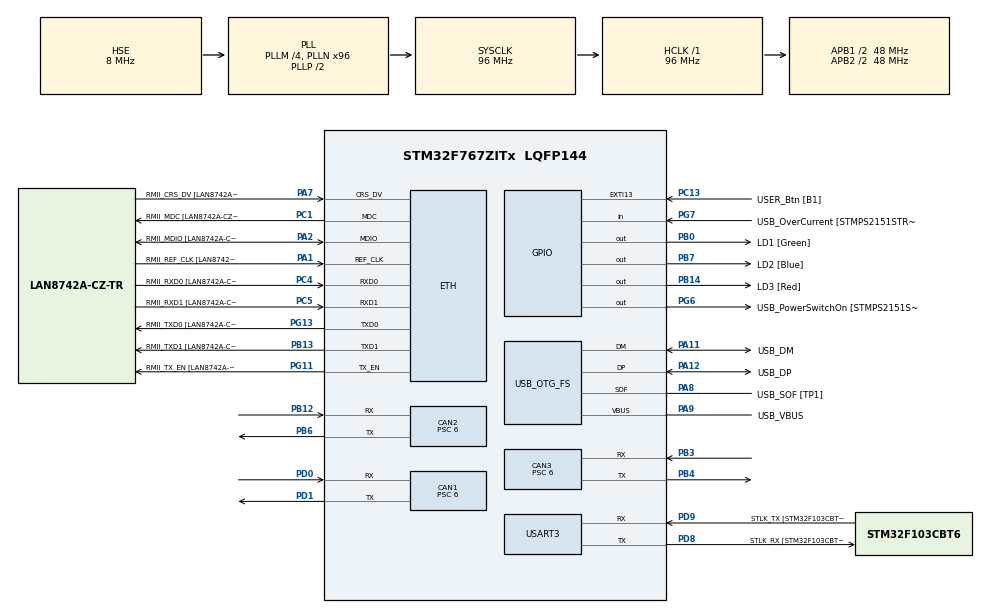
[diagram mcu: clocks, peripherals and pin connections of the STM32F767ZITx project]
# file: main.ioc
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CAN1.ABOM=DISABLE
CAN1.BS1=CAN_BS1_6TQ
CAN1.CalculateBaudRate=1000000
CAN1.CalculateTimeBit=1000
CAN1.CalculateTimeQuantum=125.0
CAN1.Prescaler=6
CAN1.TXFP=ENABLE
CAN2.BS1=CAN_BS1_6TQ
CAN2.CalculateBaudRate=1000000
CAN2.CalculateTimeBit=1000
CAN2.CalculateTimeQuantum=125.0
CAN2.Prescaler=6
CAN2.TXFP=ENABLE
CAN3.BS1=CAN_BS1_6TQ
CAN3.CalculateBaudRate=1000000
CAN3.CalculateTimeBit=1000
CAN3.CalculateTimeQuantum=125.0
CAN3.Prescaler=6
CAN3.TXFP=ENABLE
CORTEX_M7.default_mode_Activation=1
ETH.MediaInterface=HAL_ETH_RMII_MODE
ETH.PHY_Name=LAN8742A_PHY_ADDRESS
ETH.PHY_Value=0
ETH.PhyAddress=0
FREERTOS.Tasks01=defaultTask,0,8192,StartDefaultTask,Default,NULL,Static,defaultTaskBuffer,defaultTaskControlBlock;canlib_task,1,1024,StartCanlibTask,Default,NULL,Static,canlib_taskBuffer,canlib_taskControlBlock
FREERTOS.configENABLE_FPU=1
FREERTOS.configTIMER_TASK_STACK_DEPTH=65536
FREERTOS.configTOTAL_HEAP_SIZE=40000
FREERTOS.configUSE_TIMERS=1
LWIP.BSP.number=1
LWIP.IP_ADDRESS=192.168.001.010
LWIP.LWIP_DHCP=0
LWIP.LWIP_SO_RCVTIMEO=1
LWIP.MEMP_NUM_UDP_PCB=15
LWIP.NETMASK_ADDRESS=255.255.255.000
LWIP.Version=v2.1.2_Cube
LWIP0.BSP.STBoard=false
LWIP0.BSP.api=BSP_COMPONENT_DRIVER
LWIP0.BSP.component=LAN8742
LWIP0.BSP.instance=LAN8742
LWIP0.BSP.name=Driver_PHY
LWIP0.BSP.semaphore=S_LAN8742
LWIP0.BSP.solution=LAN8742
Mcu.Family=STM32F7
Mcu.Name=STM32F767ZITx
Mcu.Package=LQFP144
NVIC.CAN1_RX0_IRQn=true\:5\:0\:false\:false\:true\:true\:true\:true\:true
NVIC.CAN1_RX1_IRQn=true\:5\:0\:false\:false\:true\:true\:true\:true\:true
NVIC.CAN1_TX_IRQn=true\:5\:0\:false\:false\:true\:true\:true\:true\:true
NVIC.CAN2_RX0_IRQn=true\:5\:0\:false\:false\:true\:true\:true\:true\:true
NVIC.CAN2_RX1_IRQn=true\:5\:0\:false\:false\:true\:true\:true\:true\:true
NVIC.CAN2_TX_IRQn=true\:5\:0\:false\:false\:true\:true\:true\:true\:true
NVIC.CAN3_RX0_IRQn=true\:5\:0\:false\:false\:true\:true\:true\:true\:true
NVIC.CAN3_RX1_IRQn=true\:5\:0\:false\:false\:true\:true\:true\:true\:true
NVIC.CAN3_TX_IRQn=true\:5\:0\:false\:false\:true\:true\:true\:true\:true
NVIC.ETH_IRQn=true\:5\:0\:false\:false\:true\:true\:false\:true\:true
NVIC.PriorityGroup=NVIC_PRIORITYGROUP_4
NVIC.TIM1_UP_TIM10_IRQn=true\:15\:0\:false\:false\:true\:false\:false\:true\:true
NVIC.TimeBase=TIM1_UP_TIM10_IRQn
NVIC.TimeBaseIP=TIM1
PA1.GPIO_Label=RMII_REF_CLK [LAN8742A-CZ-TR_REFCLK0]
PA1.Mode=RMII
PA1.Signal=ETH_REF_CLK
PA10.GPIO_Label=USB_ID
PA10.Signal=USB_OTG_FS_ID
PA11.GPIO_Label=USB_DM
PA11.Mode=Device_Only
PA11.Signal=USB_OTG_FS_DM
PA12.GPIO_Label=USB_DP
PA12.Mode=Device_Only
PA12.Signal=USB_OTG_FS_DP
PA13.GPIO_Label=TMS
PA13.Mode=Serial_Wire
PA13.Signal=SYS_JTMS-SWDIO
PA14.GPIO_Label=TCK
PA14.Mode=Serial_Wire
PA14.Signal=SYS_JTCK-SWCLK
PA2.GPIO_Label=RMII_MDIO [LAN8742A-CZ-TR_MDIO]
PA2.Mode=RMII
PA2.Signal=ETH_MDIO
PA7.GPIO_Label=RMII_CRS_DV [LAN8742A-CZ-TR_CRS_DV]
PA7.Mode=RMII
PA7.Signal=ETH_CRS_DV
PA8.GPIO_Label=USB_SOF [TP1]
PA8.Mode=Activate_SOF_FS
PA8.Signal=USB_OTG_FS_SOF
PA9.GPIO_Label=USB_VBUS
PA9.Mode=Activate_VBUS
PA9.Signal=USB_OTG_FS_VBUS
PB0.GPIO_Label=LD1 [Green]
PB0.Signal=GPIO_Output
PB12.Mode=CAN_Activate
PB12.Signal=CAN2_RX
PB13.GPIO_Label=RMII_TXD1 [LAN8742A-CZ-TR_TXD1]
PB13.Mode=RMII
PB13.Signal=ETH_TXD1
PB14.GPIO_Label=LD3 [Red]
PB14.Signal=GPIO_Output
PB3.Mode=CAN_Activate
PB3.Signal=CAN3_RX
PB4.Mode=CAN_Activate
PB4.Signal=CAN3_TX
PB6.Mode=CAN_Activate
PB6.Signal=CAN2_TX
PB7.GPIO_Label=LD2 [Blue]
PB7.Signal=GPIO_Output
PC1.GPIO_Label=RMII_MDC [LAN8742A-CZ-TR_MDC]
PC1.Mode=RMII
PC1.Signal=ETH_MDC
PC13.GPIO_Label=USER_Btn [B1]
PC13.Signal=GPXTI13
PC14/OSC32_IN.Mode=LSE-External-Oscillator
PC14/OSC32_IN.Signal=RCC_OSC32_IN
PC15/OSC32_OUT.Mode=LSE-External-Oscillator
PC15/OSC32_OUT.Signal=RCC_OSC32_OUT
PC4.GPIO_Label=RMII_RXD0 [LAN8742A-CZ-TR_RXD0]
PC4.Mode=RMII
PC4.Signal=ETH_RXD0
PC5.GPIO_Label=RMII_RXD1 [LAN8742A-CZ-TR_RXD1]
PC5.Mode=RMII
PC5.Signal=ETH_RXD1
PD0.Mode=CAN_Activate
PD0.Signal=CAN1_RX
PD1.Mode=CAN_Activate
PD1.Signal=CAN1_TX
PD8.GPIO_Label=STLK_RX [STM32F103CBT6_PA3]
PD8.Mode=Asynchronous
PD8.Signal=USART3_TX
PD9.GPIO_Label=STLK_TX [STM32F103CBT6_PA2]
PD9.Mode=Asynchronous
PD9.Signal=USART3_RX
PG11.GPIO_Label=RMII_TX_EN [LAN8742A-CZ-TR_TXEN]
PG11.Mode=RMII
PG11.Signal=ETH_TX_EN
PG13.GPIO_Label=RMII_TXD0 [LAN8742A-CZ-TR_TXD0]
PG13.Mode=RMII
PG13.Signal=ETH_TXD0
PG6.GPIO_Label=USB_PowerSwitchOn [STMPS2151STR_EN]
PG6.Signal=GPIO_Output
PG7.GPIO_Label=USB_OverCurrent [STMPS2151STR_FAULT]
PG7.Signal=GPIO_Input
PH0/OSC_IN.GPIO_Label=MCO [STM32F103CBT6_PA8]
PH0/OSC_IN.Mode=HSE-External-Clock-Source
PH0/OSC_IN.Signal=RCC_OSC_IN
PH1/OSC_OUT.Mode=HSE-External-Clock-Source
PH1/OSC_OUT.Signal=RCC_OSC_OUT
ProjectManager.HeapSize=0x200
ProjectManager.StackSize=0x400
ProjectManager.TargetToolchain=STM32CubeIDE
RCC.48MHZClocksFreq_Value=24000000
RCC.AHBFreq_Value=96000000
RCC.APB1CLKDivider=RCC_HCLK_DIV2
RCC.APB1Freq_Value=48000000
RCC.APB1TimFreq_Value=96000000
RCC.APB2CLKDivider=RCC_HCLK_DIV2
RCC.APB2Freq_Value=48000000
RCC.APB2TimFreq_Value=96000000
RCC.CortexFreq_Value=96000000
RCC.HCLKFreq_Value=96000000
RCC.HSE_VALUE=8000000
RCC.HSI_VALUE=16000000
RCC.PLLM=4
RCC.PLLMUL=RCC_PLL_MUL9
RCC.PLLN=96
RCC.PLLQ=4
RCC.PRESCALERUSB=RCC_USBCLKSOURCE_PLL_DIV1_5
RCC.SYSCLKFreq_VALUE=96000000
RCC.SYSCLKSource=RCC_SYSCLKSOURCE_PLLCLK
RCC.SYSCLKSourceVirtual=RCC_SYSCLKSOURCE_PLLCLK
RCC.USBFreq_Value=48000000
RCC.VCOOutputFreq_Value=192000000
USART3.VirtualMode-Asynchronous=VM_ASYNC
USB_OTG_FS.VirtualMode=Device_Only
VP_FREERTOS_VS_CMSIS_V1.Mode=CMSIS_V1
VP_LWIP_VS_Enabled.Mode=Enabled
VP_SYS_VS_tim1.Mode=TIM1
board=NUCLEO-F767ZI

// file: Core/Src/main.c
/* USER CODE BEGIN Header */
/**
  ******************************************************************************
  * @file           : main.c
  * @brief          : Main program body
  ******************************************************************************
  * @attention
  *
  * Copyright (c) 2026 STMicroelectronics.
  * All rights reserved.
  *
  * This software is licensed under terms that can be found in the LICENSE file
  * in the root directory of this software component.
  * If no LICENSE file comes with this software, it is provided AS-IS.
  *
  ******************************************************************************
  */
/* USER CODE END Header */
#include "main.h"
#include "cmsis_os.h"
#include "can.h"
#include "lwip.h"
#include "usart.h"
#include "usb_otg.h"
#include "gpio.h"

void SystemClock_Config(void);
static void MPU_Config(void);
void MX_FREERTOS_Init(void);

/* USER CODE BEGIN 0 */
#ifdef __GNUC__
#define PUTCHAR_PROTOTYPE int __io_putchar(uint8_t ch)
#else
#define PUTCHAR_PROTOTYPE int fputc(int ch, FILE *f)
#endif /* __GNUC__ */

PUTCHAR_PROTOTYPE {
  HAL_UART_Transmit(&huart3, &ch, 1, 500);
  return ch;
}
/* USER CODE END 0 */

int main(void)
{

  /* MPU Configuration--------------------------------------------------------*/
  MPU_Config();

  /* MCU Configuration--------------------------------------------------------*/

  /* Reset of all peripherals, Initializes the Flash interface and the Systick. */
  HAL_Init();

  /* Configure the system clock */
  SystemClock_Config();

  /* Initialize all configured peripherals */
  MX_GPIO_Init();
  MX_CAN1_Init();
  MX_USART3_UART_Init();
  MX_USB_OTG_FS_PCD_Init();
  MX_CAN2_Init();
  MX_CAN3_Init();

  /* Call init function for freertos objects (in cmsis_os2.c) */
  MX_FREERTOS_Init();

  /* Start scheduler */
  osKernelStart();

  /* We should never get here as control is now taken by the scheduler */

  /* Infinite loop */
  while (1)
  {

  }
}

void SystemClock_Config(void)
{
  RCC_OscInitTypeDef RCC_OscInitStruct = {0};
  RCC_ClkInitTypeDef RCC_ClkInitStruct = {0};

  /** Configure LSE Drive Capability
  */
  HAL_PWR_EnableBkUpAccess();

  /** Configure the main internal regulator output voltage
  */
  __HAL_RCC_PWR_CLK_ENABLE();
  __HAL_PWR_VOLTAGESCALING_CONFIG(PWR_REGULATOR_VOLTAGE_SCALE3);

  /** Initializes the RCC Oscillators according to the specified parameters
  * in the RCC_OscInitTypeDef structure.
  */
  RCC_OscInitStruct.OscillatorType = RCC_OSCILLATORTYPE_HSE;
  RCC_OscInitStruct.HSEState = RCC_HSE_BYPASS;
  RCC_OscInitStruct.PLL.PLLState = RCC_PLL_ON;
  RCC_OscInitStruct.PLL.PLLSource = RCC_PLLSOURCE_HSE;
  RCC_OscInitStruct.PLL.PLLM = 4;
  RCC_OscInitStruct.PLL.PLLN = 96;
  RCC_OscInitStruct.PLL.PLLP = RCC_PLLP_DIV2;
  RCC_OscInitStruct.PLL.PLLQ = 4;
  RCC_OscInitStruct.PLL.PLLR = 2;
  if (HAL_RCC_OscConfig(&RCC_OscInitStruct) != HAL_OK)
  {
    Error_Handler();
  }

  /** Activate the Over-Drive mode
  */
  if (HAL_PWREx_EnableOverDrive() != HAL_OK)
  {
    Error_Handler();
  }

  /** Initializes the CPU, AHB and APB buses clocks
  */
  RCC_ClkInitStruct.ClockType = RCC_CLOCKTYPE_HCLK|RCC_CLOCKTYPE_SYSCLK
                              |RCC_CLOCKTYPE_PCLK1|RCC_CLOCKTYPE_PCLK2;
  RCC_ClkInitStruct.SYSCLKSource = RCC_SYSCLKSOURCE_PLLCLK;
  RCC_ClkInitStruct.AHBCLKDivider = RCC_SYSCLK_DIV1;
  RCC_ClkInitStruct.APB1CLKDivider = RCC_HCLK_DIV2;
  RCC_ClkInitStruct.APB2CLKDivider = RCC_HCLK_DIV2;

  if (HAL_RCC_ClockConfig(&RCC_ClkInitStruct, FLASH_LATENCY_3) != HAL_OK)
  {
    Error_Handler();
  }
}

 /* MPU Configuration */

void MPU_Config(void)
{
  MPU_Region_InitTypeDef MPU_InitStruct = {0};

  /* Disables the MPU */
  HAL_MPU_Disable();

  /** Initializes and configures the Region and the memory to be protected
  */
  MPU_InitStruct.Enable = MPU_REGION_ENABLE;
  MPU_InitStruct.Number = MPU_REGION_NUMBER0;
  MPU_InitStruct.BaseAddress = 0x0;
  MPU_InitStruct.Size = MPU_REGION_SIZE_4GB;
  MPU_InitStruct.SubRegionDisable = 0x87;
  MPU_InitStruct.TypeExtField = MPU_TEX_LEVEL0;
  MPU_InitStruct.AccessPermission = MPU_REGION_NO_ACCESS;
  MPU_InitStruct.DisableExec = MPU_INSTRUCTION_ACCESS_DISABLE;
  MPU_InitStruct.IsShareable = MPU_ACCESS_SHAREABLE;
  MPU_InitStruct.IsCacheable = MPU_ACCESS_NOT_CACHEABLE;
  MPU_InitStruct.IsBufferable = MPU_ACCESS_NOT_BUFFERABLE;

  HAL_MPU_ConfigRegion(&MPU_InitStruct);
  /* Enables the MPU */
  HAL_MPU_Enable(MPU_PRIVILEGED_DEFAULT);

}

void HAL_TIM_PeriodElapsedCallback(TIM_HandleTypeDef *htim)
{
  if (htim->Instance == TIM1)
  {
    HAL_IncTick();
  }
}

void Error_Handler(void)
{
  __disable_irq();
  while (1)
  {
  }
}

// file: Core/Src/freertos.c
/* USER CODE BEGIN Header */
/**
  ******************************************************************************
  * File Name          : freertos.c
  * Description        : Code for freertos applications
  ******************************************************************************
  * @attention
  *
  * Copyright (c) 2026 STMicroelectronics.
  * All rights reserved.
  *
  * This software is licensed under terms that can be found in the LICENSE file
  * in the root directory of this software component.
  * If no LICENSE file comes with this software, it is provided AS-IS.
  *
  ******************************************************************************
  */
/* USER CODE END Header */

#include "FreeRTOS.h"
#include "task.h"
#include "main.h"
#include "cmsis_os.h"

/* USER CODE BEGIN Includes */
#include <math.h>
#include <rcl/rcl.h>
#include <rcl/error_handling.h>
#include <rclc/rclc.h>
#include <rclc/executor.h>
#include <uxr/client/transport.h>
#include <rmw_microxrcedds_c/config.h>
#include <rmw_microros/rmw_microros.h>

#include <std_msgs/msg/int32.h>
#include <std_msgs/msg/float32_multi_array.h>
#include "ModularCANLib.h"
/* USER CODE END Includes */

/* USER CODE BEGIN PTD */
typedef struct {
  float Kp_pos;
  float Kp_vel;
  float Ki_vel;
  float alpha; // 参照モデルの極
  float gw;    // DOBのLPFの極
  float J;     // 慣性モーメント
  float D;     // 粘性摩擦係数
  float Ki;    // トルク定数
} ControllerParams;
/* USER CODE END PTD */

/* USER CODE BEGIN PD */
enum {
  Motor_Shoulder=0,
  Motor_Elbow,
  Motor_3508_left,
  Motor_3508_right,
  Motor_2006_xy,
  Motor_2006_z,
};

#define CONTROL_PERIOD_MS 1
#define CONTROL_PERIOD_S  0.001f

/* USER CODE END PD */

/* USER CODE BEGIN Variables */
volatile float g_target_positions[6] = {0.0f, 0.0f, 0.0f, 0.0f, 0.0f, 0.0f};

// 各軸のDOBやフィルタの前回値を保持する構造体
typedef struct {
  float prev_v_ref_filtered;
  float prev_i_in;
  float integral_e;

  // DOB・フィルタ用の状態変数（追加）
  float dob_state;
  float i_in_filtered;
  float prev_i_in_filtered;
} ControllerState;

ControllerState ctrl_state[6] = {0};
/* USER CODE END Variables */
osThreadId defaultTaskHandle;
uint32_t defaultTaskBuffer[ 8192 ];
osStaticThreadDef_t defaultTaskControlBlock;
osThreadId canlib_taskHandle;
uint32_t canlib_taskBuffer[ 1024 ];
osStaticThreadDef_t canlib_taskControlBlock;

/* USER CODE BEGIN FunctionPrototypes */
bool cubemx_transport_open(struct uxrCustomTransport * transport);
bool cubemx_transport_close(struct uxrCustomTransport * transport);
size_t cubemx_transport_write(struct uxrCustomTransport* transport, const uint8_t * buf, size_t len, uint8_t * err);
size_t cubemx_transport_read(struct uxrCustomTransport* transport, uint8_t* buf, size_t len, int timeout, uint8_t* err);

void * microros_allocate(size_t size, void * state);
void microros_deallocate(void * pointer, void * state);
void * microros_reallocate(void * pointer, size_t size, void * state);
void * microros_zero_allocate(size_t number_of_elements, size_t size_of_element, void * state);

float calc_axis_control(float target_pos, float current_pos, float current_vel,ControllerState* state, const ControllerParams* params);

/* USER CODE END FunctionPrototypes */

void StartDefaultTask(void const * argument);
void StartCanlibTask(void const * argument);

extern void MX_LWIP_Init(void);
void MX_FREERTOS_Init(void); /* (MISRA C 2004 rule 8.1) */

/* GetIdleTaskMemory prototype (linked to static allocation support) */
void vApplicationGetIdleTaskMemory( StaticTask_t **ppxIdleTaskTCBBuffer, StackType_t **ppxIdleTaskStackBuffer, uint32_t *pulIdleTaskStackSize );

/* GetTimerTaskMemory prototype (linked to static allocation support) */
void vApplicationGetTimerTaskMemory( StaticTask_t **ppxTimerTaskTCBBuffer, StackType_t **ppxTimerTaskStackBuffer, uint32_t *pulTimerTaskStackSize );

/* USER CODE BEGIN GET_IDLE_TASK_MEMORY */
static StaticTask_t xIdleTaskTCBBuffer;
static StackType_t xIdleStack[configMINIMAL_STACK_SIZE];

void vApplicationGetIdleTaskMemory( StaticTask_t **ppxIdleTaskTCBBuffer, StackType_t **ppxIdleTaskStackBuffer, uint32_t *pulIdleTaskStackSize )
{
  *ppxIdleTaskTCBBuffer = &xIdleTaskTCBBuffer;
  *ppxIdleTaskStackBuffer = &xIdleStack[0];
  *pulIdleTaskStackSize = configMINIMAL_STACK_SIZE;
  /* place for user code */
}
/* USER CODE END GET_IDLE_TASK_MEMORY */

/* USER CODE BEGIN GET_TIMER_TASK_MEMORY */
static StaticTask_t xTimerTaskTCBBuffer;
static StackType_t xTimerStack[configTIMER_TASK_STACK_DEPTH];

void vApplicationGetTimerTaskMemory( StaticTask_t **ppxTimerTaskTCBBuffer, StackType_t **ppxTimerTaskStackBuffer, uint32_t *pulTimerTaskStackSize )
{
  *ppxTimerTaskTCBBuffer = &xTimerTaskTCBBuffer;
  *ppxTimerTaskStackBuffer = &xTimerStack[0];
  *pulTimerTaskStackSize = configTIMER_TASK_STACK_DEPTH;
  /* place for user code */
}
/* USER CODE END GET_TIMER_TASK_MEMORY */

void MX_FREERTOS_Init(void) {

  /* Create the thread(s) */
  /* definition and creation of defaultTask */
  osThreadStaticDef(defaultTask, StartDefaultTask, osPriorityNormal, 0, 8192, defaultTaskBuffer, &defaultTaskControlBlock);
  defaultTaskHandle = osThreadCreate(osThread(defaultTask), NULL);

  /* definition and creation of canlib_task */
  osThreadStaticDef(canlib_task, StartCanlibTask, osPriorityAboveNormal, 0, 1024, canlib_taskBuffer, &canlib_taskControlBlock);
  canlib_taskHandle = osThreadCreate(osThread(canlib_task), NULL);

}

void StartDefaultTask(void const * argument)
{
  /* init code for LWIP */
  MX_LWIP_Init();
  /* USER CODE BEGIN StartDefaultTask */

  // micro-ROS configuration
  rmw_uros_set_custom_transport(
    false,              //Framing disable here.
    "192.168.1.121",    //your Agent's ip address.
    cubemx_transport_open,
    cubemx_transport_close,
    cubemx_transport_write,
    cubemx_transport_read);

  rcl_allocator_t freeRTOS_allocator = rcutils_get_zero_initialized_allocator();
  freeRTOS_allocator.allocate = microros_allocate;
  freeRTOS_allocator.deallocate = microros_deallocate;
  freeRTOS_allocator.reallocate = microros_reallocate;
  freeRTOS_allocator.zero_allocate =  microros_zero_allocate;

  if (!rcutils_set_default_allocator(&freeRTOS_allocator)) {
    printf("Error on default allocators (line %d)\n", __LINE__);
  }

  rcl_allocator_t allocator = rcl_get_default_allocator();
  rclc_support_t support;
  rcl_node_t node;
  rcl_subscription_t subscriber;
  std_msgs__msg__Float32MultiArray msg; // 受信メッセージ

  // 初期化オプションの生成とDomain IDのセット
  rcl_init_options_t init_options = rcl_get_zero_initialized_init_options();
  rcl_init_options_init(&init_options, allocator);
  rcl_init_options_set_domain_id(&init_options, 30);

  // supportを初期化
  rclc_support_init_with_options(&support, 0, NULL, &init_options, &allocator);

  // ノードの作成
  rclc_node_init_default(&node, "stm32_scara_node", "", &support);

  // Subscriber作成 ("target_joint_positions"トピック)
  rclc_subscription_init_default(
    &subscriber, &node,
    ROSIDL_GET_MSG_TYPE_SUPPORT(std_msgs, msg, Float32MultiArray),
    "target_joint_positions");

  // エグゼキュータの作成
  rclc_executor_t executor;
  rclc_executor_init(&executor, &support.context, 1, &allocator);

  // コールバック関数の定義
  void subscription_callback(const void * msgin) {
    const std_msgs__msg__Float32MultiArray * array_msg = (const std_msgs__msg__Float32MultiArray *)msgin;
    // 6軸分のデータが来ているかチェック
    if (array_msg->data.size >= 6) {
      g_target_positions[Motor_Shoulder]   = array_msg->data.data[0];
      g_target_positions[Motor_Elbow]      = array_msg->data.data[1];
      g_target_positions[Motor_3508_left]  = array_msg->data.data[2];
      g_target_positions[Motor_3508_right] = array_msg->data.data[3];
      g_target_positions[Motor_2006_xy]    = array_msg->data.data[4];
      g_target_positions[Motor_2006_z]     = array_msg->data.data[5];
    }
  }

  // Subscriberをエグゼキュータに追加
  rclc_executor_add_subscription(&executor, &subscriber, &msg, &subscription_callback, ON_NEW_DATA);

  for(;;) {
    rclc_executor_spin_some(&executor, RCL_MS_TO_NS(10));
    osDelay(10);
  }
  /* USER CODE END StartDefaultTask */
}

void StartCanlibTask(void const * argument)
{
  /* USER CODE BEGIN StartCanlibTask */

  // 1. 各モータの登録と初期化設定\
  // --- Shoulder (RobStride 02) ---
  // ModularCANLib_DeviceInfo_Type *dev_shoulder = ModularCANLib_DeviceInfo_Struct_Init(ModularCANLib_DeviceType_RobStride_02, Motor_Shoulder);
  // dev_shoulder->hcan = &hcan1; dev_shoulder->node_id = 1;
  // ModularCANLib_DeviceParam_RobStride_Type *param_shoulder = ModularCANLib_RobStride_GetDeviceParam(dev_shoulder);
  // param_shoulder->use_internal_offset = ROBSTRIDE_USE_OFFSET_POS_INITIAL;
  // param_shoulder->target.kp = 0.0f; // トルク制御のみ
  // param_shoulder->target.kd = 0.0f;

  // --- Elbow (RobStride 05 Edu) ---
  ModularCANLib_DeviceInfo_Type *dev_elbow = ModularCANLib_DeviceInfo_Struct_Init(ModularCANLib_DeviceType_RobStride_05_Edu, Motor_Elbow);
  dev_elbow->hcan = &hcan2; dev_elbow->node_id = 1;
  ModularCANLib_DeviceParam_RobStride_Type *param_elbow = ModularCANLib_RobStride_GetDeviceParam(dev_elbow);
  param_elbow->use_internal_offset = ROBSTRIDE_USE_OFFSET_POS_INITIAL;
  param_elbow->target.kp = 0.0f; // トルク制御のみ
  param_elbow->target.kd = 0.0f;

  // // --- 3508 Left (C620) ---
  // ModularCANLib_DeviceInfo_Type *dev_3508_l = ModularCANLib_DeviceInfo_Struct_Init(ModularCANLib_DeviceType_RoboMas_C620, Motor_3508_left);
  // dev_3508_l->hcan = &hcan2; dev_3508_l->node_id = 1;
  // ModularCANLib_RoboMas_GetDeviceParam(dev_3508_l)->ctrl_type = ROBOMAS_CTRL_CURRENT;
  //
  // // --- 3508 Right (C620) ---
  // ModularCANLib_DeviceInfo_Type *dev_3508_r = ModularCANLib_DeviceInfo_Struct_Init(ModularCANLib_DeviceType_RoboMas_C620, Motor_3508_right);
  // dev_3508_r->hcan = &hcan2; dev_3508_r->node_id = 2;
  // ModularCANLib_RoboMas_GetDeviceParam(dev_3508_r)->ctrl_type = ROBOMAS_CTRL_CURRENT;
  //
  // // --- 2006 XY (C610) ---
  // ModularCANLib_DeviceInfo_Type *dev_2006_xy = ModularCANLib_DeviceInfo_Struct_Init(ModularCANLib_DeviceType_RoboMas_C610, Motor_2006_xy);
  // dev_2006_xy->hcan = &hcan2; dev_2006_xy->node_id = 3;
  // ModularCANLib_RoboMas_GetDeviceParam(dev_2006_xy)->ctrl_type = ROBOMAS_CTRL_CURRENT;
  //
  // // --- 2006 Z (C610) ---
  // ModularCANLib_DeviceInfo_Type *dev_2006_z = ModularCANLib_DeviceInfo_Struct_Init(ModularCANLib_DeviceType_RoboMas_C610, Motor_2006_z);
  // dev_2006_z->hcan = &hcan2; dev_2006_z->node_id = 4;
  // ModularCANLib_RoboMas_GetDeviceParam(dev_2006_z)->ctrl_type = ROBOMAS_CTRL_CURRENT;

  // 全デバイス & CAN初期化
  ModularCANLib_AllDevice_And_CANSystem_Init();
  ModularCANLib_WaitForConnect();

  // 起動処理
  // Robstride_PresetParameters(dev_shoulder);
  Robstride_PresetParameters(dev_elbow);
  // Robstride_ControlEnable(dev_shoulder);
  Robstride_ControlEnable(dev_elbow);
  // RoboMas_ControlEnable(dev_3508_l);
  // RoboMas_ControlEnable(dev_3508_r);
  // RoboMas_ControlEnable(dev_2006_xy);
  // RoboMas_ControlEnable(dev_2006_z);

  // 2. 各軸の制御パラメータの初期化（※実機に合わせて値を調整してください）
  // ControllerParams p_shoulder = { .Kp_pos = 10.0f, .Kp_vel = 0.5f, .Ki_vel = 0.1f, .alpha = 50.0f, .gw = 100.0f, .J = 0.01f, .D = 0.001f, .Ki = 1.0f };
  ControllerParams p_elbow    = { .Kp_pos = 10.0f, .Kp_vel = 0.5f, .Ki_vel = 0.1f, .alpha = 50.0f, .gw = 100.0f, .J = 0.005f, .D = 0.001f, .Ki = 1.0f };
  // ControllerParams p_3508_l   = { .Kp_pos = 10.0f, .Kp_vel = 0.5f, .Ki_vel = 0.1f, .alpha = 50.0f, .gw = 100.0f, .J = 0.002f, .D = 0.001f, .Ki = 0.3f };
  // ControllerParams p_3508_r   = { .Kp_pos = 10.0f, .Kp_vel = 0.5f, .Ki_vel = 0.1f, .alpha = 50.0f, .gw = 100.0f, .J = 0.002f, .D = 0.001f, .Ki = 0.3f };
  // ControllerParams p_2006_xy  = { .Kp_pos = 10.0f, .Kp_vel = 0.5f, .Ki_vel = 0.1f, .alpha = 50.0f, .gw = 100.0f, .J = 0.001f, .D = 0.001f, .Ki = 0.18f };
  // ControllerParams p_2006_z   = { .Kp_pos = 10.0f, .Kp_vel = 0.5f, .Ki_vel = 0.1f, .alpha = 50.0f, .gw = 100.0f, .J = 0.001f, .D = 0.001f, .Ki = 0.18f };

  // 1kHz制御ループの準備
  TickType_t xLastWakeTime = osKernelSysTick();

  for(;;)
  {
    // 厳密に1ms周期で実行する
    osDelayUntil(&xLastWakeTime, CONTROL_PERIOD_MS);

    // ========================================================
    // 制御計算と指令値のセット
    // ========================================================
    float req_i; // 計算された目標電流値

    // --- Shoulder ---
    // req_i = calc_axis_control(g_target_positions[Motor_Shoulder], param_shoulder->feedback.position, param_shoulder->feedback.velocity, &ctrl_state[Motor_Shoulder], &p_shoulder);
    // param_shoulder->target.torque_ff = req_i * p_shoulder.Ki; // 電流からトルクに変換して代入

    // --- Elbow ---
    req_i = calc_axis_control(g_target_positions[Motor_Elbow], param_elbow->feedback.position, param_elbow->feedback.velocity, &ctrl_state[Motor_Elbow], &p_elbow);
    param_elbow->target.torque_ff = req_i * p_elbow.Ki;

    // // --- 3508 Left ---
    // req_i = calc_axis_control(g_target_positions[Motor_3508_left], ModularCANLib_RoboMas_GetDeviceParam(dev_3508_l)->feedback.position, ModularCANLib_RoboMas_GetDeviceParam(dev_3508_l)->feedback.velocity, &ctrl_state[Motor_3508_left], &p_3508_l);
    // RoboMas_SetTarget(dev_3508_l, req_i); // RoboMasは電流指令をそのまま渡す
    //
    // // --- 3508 Right ---
    // req_i = calc_axis_control(g_target_positions[Motor_3508_right], ModularCANLib_RoboMas_GetDeviceParam(dev_3508_r)->feedback.position, ModularCANLib_RoboMas_GetDeviceParam(dev_3508_r)->feedback.velocity, &ctrl_state[Motor_3508_right], &p_3508_r);
    // RoboMas_SetTarget(dev_3508_r, req_i);
    //
    // // --- 2006 XY ---
    // req_i = calc_axis_control(g_target_positions[Motor_2006_xy], ModularCANLib_RoboMas_GetDeviceParam(dev_2006_xy)->feedback.position, ModularCANLib_RoboMas_GetDeviceParam(dev_2006_xy)->feedback.velocity, &ctrl_state[Motor_2006_xy], &p_2006_xy);
    // RoboMas_SetTarget(dev_2006_xy, req_i);
    //
    // // --- 2006 Z ---
    // req_i = calc_axis_control(g_target_positions[Motor_2006_z], ModularCANLib_RoboMas_GetDeviceParam(dev_2006_z)->feedback.position, ModularCANLib_RoboMas_GetDeviceParam(dev_2006_z)->feedback.velocity, &ctrl_state[Motor_2006_z], &p_2006_z);
    // RoboMas_SetTarget(dev_2006_z, req_i);
  }
  /* USER CODE END StartCanlibTask */
}

/* USER CODE BEGIN Application */
float calc_axis_control(float target_pos, float current_pos, float current_vel,
                        ControllerState* state, const ControllerParams* params)
{
  float dt = CONTROL_PERIOD_S;

  // 1. 位置のP制御で目標速度を生成
  float v_ref = params->Kp_pos * (target_pos - current_pos);

  // 2. 参照モデル F(s) = alpha / (s + alpha)
  float v_ref_f = (state->prev_v_ref_filtered + params->alpha * dt * v_ref) / (1.0f + params->alpha * dt);
  state->prev_v_ref_filtered = v_ref_f;

  // 3. 速度のPID制御 (FB電流)
  float e = v_ref_f - current_vel;
  state->integral_e += e * dt;
  float i_fb = params->Kp_vel * e + params->Ki_vel * state->integral_e;

  // 4. フィードフォワード制御 (FF電流)
  float i_ff = (params->D / params->Ki) * v_ref_f;

  // 5. DOB (外乱オブザーバ)
  float M = params->J / params->Ki;
  float D_ki = params->D / params->Ki;

  float dob_v_term = params->gw * (M * current_vel) - state->dob_state;
  state->dob_state += dt * params->gw * (dob_v_term + (D_ki * current_vel));

  state->i_in_filtered = (state->prev_i_in_filtered + params->gw * dt * state->prev_i_in) / (1.0f + params->gw * dt);
  state->prev_i_in_filtered = state->i_in_filtered;

  float i_dis_hat = state->i_in_filtered - dob_v_term;

  // 6. 制御入力の合成
  float i_model_in = i_ff + i_fb + i_dis_hat;

  // 次回ループのための保存
  state->prev_i_in = i_model_in;

  return i_model_in; // 計算された要求電流[A]
}
/* USER CODE END Application */
